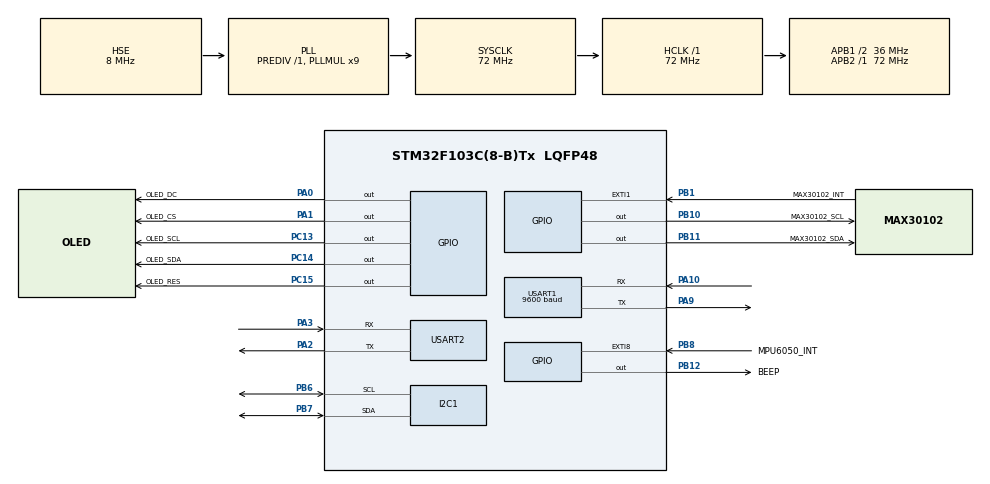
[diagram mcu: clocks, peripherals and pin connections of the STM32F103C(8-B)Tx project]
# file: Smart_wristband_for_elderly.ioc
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Mcu.Family=STM32F1
Mcu.Name=STM32F103C(8-B)Tx
Mcu.Package=LQFP48
NVIC.EXTI1_IRQn=true\:1\:0\:true\:false\:true\:true\:true\:true
NVIC.EXTI9_5_IRQn=true\:0\:0\:false\:false\:true\:true\:true\:true
NVIC.PriorityGroup=NVIC_PRIORITYGROUP_4
NVIC.USART1_IRQn=true\:2\:0\:true\:false\:true\:true\:true\:true
NVIC.USART2_IRQn=true\:3\:0\:true\:false\:true\:true\:true\:true
PA0-WKUP.GPIO_Label=OLED_DC
PA0-WKUP.GPIO_PuPd=GPIO_PULLUP
PA0-WKUP.GPIO_Speed=GPIO_SPEED_FREQ_HIGH
PA0-WKUP.PinState=GPIO_PIN_SET
PA0-WKUP.Signal=GPIO_Output
PA1.GPIO_Label=OLED_CS
PA1.GPIO_ModeDefaultOutputPP=GPIO_MODE_OUTPUT_PP
PA1.GPIO_PuPd=GPIO_PULLUP
PA1.GPIO_Speed=GPIO_SPEED_FREQ_HIGH
PA1.PinState=GPIO_PIN_SET
PA1.Signal=GPIO_Output
PA10.Mode=Asynchronous
PA10.Signal=USART1_RX
PA13.Mode=Serial_Wire
PA13.Signal=SYS_JTMS-SWDIO
PA14.Mode=Serial_Wire
PA14.Signal=SYS_JTCK-SWCLK
PA2.Mode=Asynchronous
PA2.Signal=USART2_TX
PA3.Mode=Asynchronous
PA3.Signal=USART2_RX
PA9.Mode=Asynchronous
PA9.Signal=USART1_TX
PB1.GPIO_Label=MAX30102_INT
PB1.GPIO_ModeDefaultEXTI=GPIO_MODE_IT_FALLING
PB1.GPIO_PuPd=GPIO_PULLUP
PB1.Signal=GPXTI1
PB10.GPIO_Label=MAX30102_SCL
PB10.GPIO_PuPd=GPIO_PULLUP
PB10.GPIO_Speed=GPIO_SPEED_FREQ_HIGH
PB10.PinState=GPIO_PIN_SET
PB10.Signal=GPIO_Output
PB11.GPIO_Label=MAX30102_SDA
PB11.GPIO_ModeDefaultOutputPP=GPIO_MODE_OUTPUT_PP
PB11.GPIO_PuPd=GPIO_PULLUP
PB11.GPIO_Speed=GPIO_SPEED_FREQ_HIGH
PB11.PinState=GPIO_PIN_SET
PB11.Signal=GPIO_Output
PB12.GPIO_Label=BEEP
PB12.GPIO_ModeDefaultOutputPP=GPIO_MODE_OUTPUT_PP
PB12.GPIO_PuPd=GPIO_PULLUP
PB12.GPIO_Speed=GPIO_SPEED_FREQ_HIGH
PB12.PinState=GPIO_PIN_SET
PB12.Signal=GPIO_Output
PB6.Mode=I2C
PB6.Signal=I2C1_SCL
PB7.Mode=I2C
PB7.Signal=I2C1_SDA
PB8.GPIO_Label=MPU6050_INT
PB8.GPIO_ModeDefaultEXTI=GPIO_MODE_IT_FALLING
PB8.GPIO_PuPd=GPIO_PULLUP
PB8.Signal=GPXTI8
PC13-TAMPER-RTC.GPIO_Label=OLED_SCL
PC13-TAMPER-RTC.GPIO_ModeDefaultOutputPP=GPIO_MODE_OUTPUT_PP
PC13-TAMPER-RTC.GPIO_PuPd=GPIO_PULLUP
PC13-TAMPER-RTC.GPIO_Speed=GPIO_SPEED_FREQ_HIGH
PC13-TAMPER-RTC.PinState=GPIO_PIN_SET
PC13-TAMPER-RTC.Signal=GPIO_Output
PC14-OSC32_IN.GPIO_Label=OLED_SDA
PC14-OSC32_IN.GPIO_PuPd=GPIO_PULLUP
PC14-OSC32_IN.GPIO_Speed=GPIO_SPEED_FREQ_HIGH
PC14-OSC32_IN.PinState=GPIO_PIN_SET
PC14-OSC32_IN.Signal=GPIO_Output
PC15-OSC32_OUT.GPIO_Label=OLED_RES
PC15-OSC32_OUT.GPIO_ModeDefaultOutputPP=GPIO_MODE_OUTPUT_PP
PC15-OSC32_OUT.GPIO_PuPd=GPIO_PULLUP
PC15-OSC32_OUT.GPIO_Speed=GPIO_SPEED_FREQ_HIGH
PC15-OSC32_OUT.PinState=GPIO_PIN_SET
PC15-OSC32_OUT.Signal=GPIO_Output
PD0-OSC_IN.Mode=HSE-External-Oscillator
PD0-OSC_IN.Signal=RCC_OSC_IN
PD1-OSC_OUT.Mode=HSE-External-Oscillator
PD1-OSC_OUT.Signal=RCC_OSC_OUT
ProjectManager.HeapSize=0x200
ProjectManager.StackSize=0x400
ProjectManager.TargetToolchain=MDK-ARM V5.32
RCC.AHBFreq_Value=72000000
RCC.APB1CLKDivider=RCC_HCLK_DIV2
RCC.APB1Freq_Value=36000000
RCC.APB1TimFreq_Value=72000000
RCC.APB2Freq_Value=72000000
RCC.APB2TimFreq_Value=72000000
RCC.HCLKFreq_Value=72000000
RCC.PLLMUL=RCC_PLL_MUL9
RCC.PLLSourceVirtual=RCC_PLLSOURCE_HSE
RCC.SYSCLKFreq_VALUE=72000000
RCC.SYSCLKSource=RCC_SYSCLKSOURCE_PLLCLK
RCC.USBFreq_Value=72000000
USART1.BaudRate=9600
USART1.VirtualMode=VM_ASYNC
USART2.VirtualMode=VM_ASYNC
board=custom

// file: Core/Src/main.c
/* USER CODE BEGIN Header */
/**
  ******************************************************************************
  * @file           : main.c
  * @brief          : Main program body
  ******************************************************************************
  * @attention
  *
  * Copyright (c) 2026 STMicroelectronics.
  * All rights reserved.
  *
  * This software is licensed under terms that can be found in the LICENSE file
  * in the root directory of this software component.
  * If no LICENSE file comes with this software, it is provided AS-IS.
  *
  ******************************************************************************
  */
/* USER CODE END Header */
#include "main.h"
#include "i2c.h"
#include "usart.h"
#include "gpio.h"

/* USER CODE BEGIN Includes */
#include "oled.h"
#include "max30102.h"
#include "mpu6050.h"
#include "gps.h"
/* USER CODE END Includes */

/* USER CODE BEGIN PV */
MAX30102_Data max30102_data;
MPU6050_Data mpu6050_data;
GPS_Data gps_data;
uint8_t gps_rx_buf;
/* USER CODE END PV */

void SystemClock_Config(void);

/* USER CODE BEGIN 0 */

// 跌倒检测阈值
#define FALL_ACCEL_THRESHOLD 150  // 加速度阈值
#define FALL_GYRO_THRESHOLD 100    // 陀螺仪阈值

// 跌倒检测状态
static uint8_t fall_detected = 0;
static uint32_t fall_alarm_time = 0;

// 计算加速度模长
static int32_t CalculateAccelMagnitude(int16_t x, int16_t y, int16_t z)
{
    return abs(x) + abs(y) + abs(z);
}

// 跌倒检测函数
static void DetectFall(MPU6050_Data *data)
{
    // 计算加速度模长
    int32_t accel_mag = CalculateAccelMagnitude(data->accel_x, data->accel_y, data->accel_z);

    // 计算陀螺仪模长
    int32_t gyro_mag = abs(data->gyro_x) + abs(data->gyro_y) + abs(data->gyro_z);

    // 检测跌倒条件
    if (accel_mag > FALL_ACCEL_THRESHOLD && gyro_mag > FALL_GYRO_THRESHOLD)
    {
        if (!fall_detected)
        {
            fall_detected = 1;
            fall_alarm_time = HAL_GetTick();
            // 触发报警
            HAL_GPIO_WritePin(BEEP_GPIO_Port, BEEP_Pin, GPIO_PIN_RESET);
        }
    }
    else
    {
        fall_detected = 0;
        // 停止报警
        HAL_GPIO_WritePin(BEEP_GPIO_Port, BEEP_Pin, GPIO_PIN_SET);
    }

    // 报警持续时间（5秒）
    if (fall_detected && (HAL_GetTick() - fall_alarm_time > 5000))
    {
        HAL_GPIO_WritePin(BEEP_GPIO_Port, BEEP_Pin, GPIO_PIN_SET);
        fall_detected = 0;
    }
}

// USART 接收回调函数
void HAL_UART_RxCpltCallback(UART_HandleTypeDef *huart)
{
    if (huart->Instance == USART1)
    {
        // 处理 GPS 数据
        GPS_ProcessData(gps_rx_buf);

        // 重新启动接收中断
        HAL_UART_Receive_IT(&huart1, &gps_rx_buf, 1);
    }
}

// 通过串口2发送传感器数据
void SendSensorData(void)
{
    char buffer[256];

    if (gps_data.fix)
    {
        // GPS 有效时发送所有数据
        sprintf(buffer, "Accelerometer: X=%d, Y=%d, Z=%d | Gyroscope: X=%d, Y=%d, Z=%d | GPS: Lat=%.6f, Lon=%.6f | Heart Rate=%.0f BPM, SpO2=%.0f%%\r\n",
                mpu6050_data.accel_x,
                mpu6050_data.accel_y,
                mpu6050_data.accel_z,
                mpu6050_data.gyro_x,
                mpu6050_data.gyro_y,
                mpu6050_data.gyro_z,
                gps_data.latitude,
                gps_data.longitude,
                max30102_data.heart_rate,
                max30102_data.spo2);
    }
    else
    {
        // GPS 无效时不发送 GPS 数据
        sprintf(buffer, "Accelerometer: X=%d, Y=%d, Z=%d | Gyroscope: X=%d, Y=%d, Z=%d | GPS: No Fix | Heart Rate=%.0f BPM, SpO2=%.0f%%\r\n",
                mpu6050_data.accel_x,
                mpu6050_data.accel_y,
                mpu6050_data.accel_z,
                mpu6050_data.gyro_x,
                mpu6050_data.gyro_y,
                mpu6050_data.gyro_z,
                max30102_data.heart_rate,
                max30102_data.spo2);
    }

    // 通过串口2发送数据
    HAL_UART_Transmit(&huart2, (uint8_t*)buffer, strlen(buffer), 100);
}

/* USER CODE END 0 */

int main(void)
{

  /* MCU Configuration--------------------------------------------------------*/

  /* Reset of all peripherals, Initializes the Flash interface and the Systick. */
  HAL_Init();

  /* Configure the system clock */
  SystemClock_Config();

  /* Initialize all configured peripherals */
  MX_GPIO_Init();
  MX_I2C1_Init();
  MX_USART1_UART_Init();
  MX_USART2_UART_Init();
  /* USER CODE BEGIN 2 */
  OLED_Init();
  MAX30102_Init();

  // 初始化 MPU6050 (使用标准地址 0x68)
  MPU6050_Init();

  // 读取并显示 MPU6050 ID
  uint8_t mpu_id = MPU6050_ReadID();
  OLED_Clear();
  OLED_ShowString(0, 0, (uint8_t*)"MPU6050 ID:", 8, 1);
  OLED_ShowNum(80, 0, mpu_id, 2, 8, 1);
  OLED_Refresh();
  HAL_Delay(500);

  // 初始化 GPS 模块
  GPS_Init();

  // 启动 USART1 接收中断
  HAL_UART_Receive_IT(&huart1, &gps_rx_buf, 1);
  /* USER CODE END 2 */

  /* Infinite loop */
  while (1)
  {

    /* USER CODE BEGIN 3 */
    // 读取 MAX30102 数据
    MAX30102_ReadFIFO(&max30102_data);

    // 读取 MPU6050 数据
    MPU6050_ReadData(&mpu6050_data);

    // 跌倒检测
    DetectFall(&mpu6050_data);

    // 读取 GPS 数据
    GPS_GetData(&gps_data);

    static uint8_t first_display = 1;

    if (first_display)
    {
        // 第一次显示时清除屏幕
        OLED_Clear();
        first_display = 0;

        // 显示固定的标签
        OLED_ShowString(0, 0, (uint8_t*)"HR:", 8, 1);
        OLED_ShowString(72, 0, (uint8_t*)"SpO2:", 8, 1);
        OLED_ShowString(0, 8, (uint8_t*)"A:", 8, 1);
        OLED_ShowString(0, 16, (uint8_t*)"G:", 8, 1);
        OLED_ShowString(0, 24, (uint8_t*)"GPS:", 8, 1);
        OLED_ShowString(80, 24, (uint8_t*)"Sats:", 8, 1);
        OLED_ShowString(0, 32, (uint8_t*)"Lat:", 8, 1);
        OLED_ShowString(0, 40, (uint8_t*)"Lon:", 8, 1);
        OLED_ShowString(128, 0, (uint8_t*)"%", 8, 1);
    }

    // 只更新变化的数据部分

    // 第一行：心率和血氧
    if (max30102_data.heart_rate > 0)
    {
        OLED_ShowNum(24, 0, (uint32_t)max30102_data.heart_rate, 3, 8, 1);
        OLED_ShowString(48, 0, (uint8_t*)"BPM", 8, 1);
    }
    else
    {
        OLED_ShowString(24, 0, (uint8_t*)"---", 8, 1);
    }

    if (max30102_data.spo2 > 0)
    {
        OLED_ShowNum(104, 0, (uint32_t)max30102_data.spo2, 3, 8, 1);
    }
    else
    {
        OLED_ShowString(104, 0, (uint8_t*)"---", 8, 1);
    }

    // 第二行：加速度计
    OLED_ShowNum(16, 8, (uint32_t)(mpu6050_data.accel_x / 100), 2, 8, 1);
    OLED_ShowNum(48, 8, (uint32_t)(mpu6050_data.accel_y / 100), 2, 8, 1);
    OLED_ShowNum(80, 8, (uint32_t)(mpu6050_data.accel_z / 100), 2, 8, 1);

    // 第三行：陀螺仪
    OLED_ShowNum(16, 16, (uint32_t)(mpu6050_data.gyro_x / 100), 2, 8, 1);
    OLED_ShowNum(48, 16, (uint32_t)(mpu6050_data.gyro_y / 100), 2, 8, 1);
    OLED_ShowNum(80, 16, (uint32_t)(mpu6050_data.gyro_z / 100), 2, 8, 1);

    // 第四行：GPS 状态
    if (gps_data.fix)
        OLED_ShowString(32, 24, (uint8_t*)"Valid", 8, 1);
    else
        OLED_ShowString(32, 24, (uint8_t*)"Invalid", 8, 1);
    OLED_ShowNum(112, 24, gps_data.satellites, 2, 8, 1);

    // 第五行：纬度
    if (gps_data.latitude >= 0)
    {
        OLED_ShowString(32, 32, (uint8_t*)"N ", 8, 1);
    }
    else
    {
        OLED_ShowString(32, 32, (uint8_t*)"S ", 8, 1);
        gps_data.latitude = -gps_data.latitude;
    }
    int lat_int = (int)gps_data.latitude;
    int lat_dec = (int)((gps_data.latitude - lat_int) * 10000);
    OLED_ShowNum(48, 32, lat_int, 2, 8, 1);
    OLED_ShowChar(64, 32, '.', 8, 1);
    OLED_ShowNum(72, 32, lat_dec, 4, 8, 1);

    // 第六行：经度
    if (gps_data.longitude >= 0)
    {
        OLED_ShowString(32, 40, (uint8_t*)"E ", 8, 1);
    }
    else
    {
        OLED_ShowString(32, 40, (uint8_t*)"W ", 8, 1);
        gps_data.longitude = -gps_data.longitude;
    }
    int lon_int = (int)gps_data.longitude;
    int lon_dec = (int)((gps_data.longitude - lon_int) * 10000);
    OLED_ShowNum(48, 40, lon_int, 3, 8, 1);
    OLED_ShowChar(72, 40, '.', 8, 1);
    OLED_ShowNum(80, 40, lon_dec, 4, 8, 1);

    OLED_Refresh();

    // 通过串口2发送传感器数据
    SendSensorData();

    HAL_Delay(1000);
  }
  /* USER CODE END 3 */
}

void SystemClock_Config(void)
{
  RCC_OscInitTypeDef RCC_OscInitStruct = {0};
  RCC_ClkInitTypeDef RCC_ClkInitStruct = {0};

  /** Initializes the RCC Oscillators according to the specified parameters
  * in the RCC_OscInitTypeDef structure.
  */
  RCC_OscInitStruct.OscillatorType = RCC_OSCILLATORTYPE_HSE;
  RCC_OscInitStruct.HSEState = RCC_HSE_ON;
  RCC_OscInitStruct.HSEPredivValue = RCC_HSE_PREDIV_DIV1;
  RCC_OscInitStruct.HSIState = RCC_HSI_ON;
  RCC_OscInitStruct.PLL.PLLState = RCC_PLL_ON;
  RCC_OscInitStruct.PLL.PLLSource = RCC_PLLSOURCE_HSE;
  RCC_OscInitStruct.PLL.PLLMUL = RCC_PLL_MUL9;
  if (HAL_RCC_OscConfig(&RCC_OscInitStruct) != HAL_OK)
  {
    Error_Handler();
  }

  /** Initializes the CPU, AHB and APB buses clocks
  */
  RCC_ClkInitStruct.ClockType = RCC_CLOCKTYPE_HCLK|RCC_CLOCKTYPE_SYSCLK
                              |RCC_CLOCKTYPE_PCLK1|RCC_CLOCKTYPE_PCLK2;
  RCC_ClkInitStruct.SYSCLKSource = RCC_SYSCLKSOURCE_PLLCLK;
  RCC_ClkInitStruct.AHBCLKDivider = RCC_SYSCLK_DIV1;
  RCC_ClkInitStruct.APB1CLKDivider = RCC_HCLK_DIV2;
  RCC_ClkInitStruct.APB2CLKDivider = RCC_HCLK_DIV1;

  if (HAL_RCC_ClockConfig(&RCC_ClkInitStruct, FLASH_LATENCY_2) != HAL_OK)
  {
    Error_Handler();
  }
}

void Error_Handler(void)
{
  __disable_irq();
  while (1)
  {
  }
}
